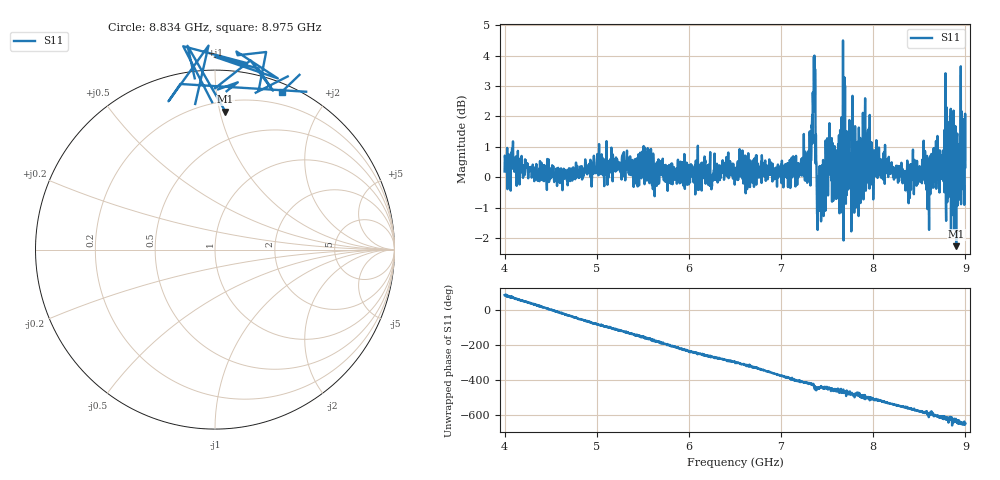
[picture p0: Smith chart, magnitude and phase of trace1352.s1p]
! Created with skrf 1.8.0 (http://scikit-rf.org).
# Hz S RI R 50.0
!freq ReS11 ImS11
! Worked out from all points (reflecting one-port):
!   1601 points, 4 GHz to 9 GHz, reference 50 ohm
!   lowest |S11| = -2.3 dB at 8.9 GHz (marker M1), VSWR 7.72, Z = 13.7 + j52 ohm
!   phase of S11 starts at 87 deg and turns -736 deg over the sweep
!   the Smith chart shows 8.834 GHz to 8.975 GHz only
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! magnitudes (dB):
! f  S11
! 4 GHz  0.2
! 4.625 GHz  -0.3
! 5.25 GHz  0.2
! 5.875 GHz  0.0
! 6.5 GHz  0.1
! 7.125 GHz  0.4
! 7.294 GHz  -0.1
! 7.316 GHz  0.8
! 7.347 GHz  2.5
! 7.369 GHz  3.6
! 7.397 GHz  -1.7
! 7.412 GHz  -0.3
! 7.456 GHz  0.6
! 7.525 GHz  1.8
! 7.609 GHz  0.9
! 7.669 GHz  1.4
! 7.722 GHz  -0.2
! 7.75 GHz  -0.2
! 7.928 GHz  1.4
! 7.981 GHz  0.2
! 8.375 GHz  0.0
! 8.538 GHz  0.1
! 8.603 GHz  -0.5
! 8.816 GHz  -0.7
! 8.869 GHz  -1.0
! 8.9 GHz  -2.3
! 8.959 GHz  2.2
! 9 GHz  0.3
